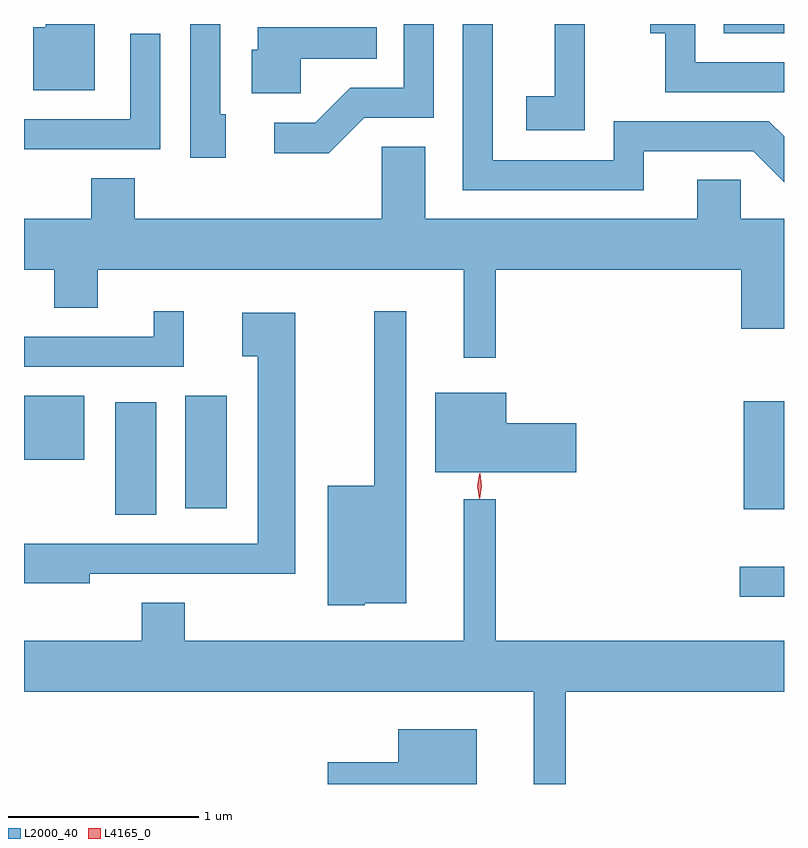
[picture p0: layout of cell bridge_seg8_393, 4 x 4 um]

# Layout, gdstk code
import gdstk
lib = gdstk.Library(unit=1e-6, precision=1e-09)
def R(c, l, rs):  # rectangles x0, y0, x1, y1
    for r in rs: c.add(gdstk.rectangle(r[:2], r[2:], *l))
def P(c, l, *ps):  # polygons
    for p in ps: c.add(gdstk.Polygon(p, *l))
L2000_40 = (2000, 40)
L4165_0 = (4165, 0)

bridge_seg8_393 = lib.new_cell('bridge_seg8_393')
R(bridge_seg8_393, L2000_40, [(808.353,1870.216,808.587,1870.374), (805.066,1870.646,805.284,1871.239), (808.376,1870.676,808.587,1871.244), (805.436,1870.681,805.654,1871.274), (804.587,1870.936,804.904,1871.274), (808.271,1873.181,808.587,1873.23)])
P(bridge_seg8_393, L2000_40, [(808.587,1873.029),(808.119,1873.029),(808.119,1873.23),(807.883,1873.23),(807.883,1873.181),(807.961,1873.181),(807.961,1872.871),(808.587,1872.871)],
  [(807.539,1873.23),(807.381,1873.23),(807.381,1872.849),(807.231,1872.849),(807.231,1872.671),(807.539,1872.671)],
  [(806.377,1872.736),(806.744,1872.736),(806.744,1873.23),(806.586,1873.23),(806.586,1872.894),(806.304,1872.894),(806.119,1872.709),(805.903,1872.709),(805.903,1872.551),(806.192,1872.551)],
  [(804.959,1873.23),(804.701,1873.23),(804.701,1873.214),(804.636,1873.214),(804.636,1872.881),(804.959,1872.881)],
  [(805.649,1872.754),(805.619,1872.754),(805.619,1873.23),(805.461,1873.23),(805.461,1872.526),(805.649,1872.526)],
  [(807.849,1872.561),(808.424,1872.561),(808.587,1872.398),(808.587,1872.639),(808.507,1872.719),(807.691,1872.719),(807.691,1872.514),(807.054,1872.514),(807.054,1873.23),(806.896,1873.23),(806.896,1872.356),(807.849,1872.356)],
  [(806.044,1873.046),(806.443,1873.046),(806.443,1873.214),(805.816,1873.214),(805.816,1873.094),(805.786,1873.094),(805.786,1872.866),(806.044,1872.866)],
  [(805.304,1873.178),(805.146,1873.178),(805.146,1872.729),(804.587,1872.729),(804.587,1872.571),(805.304,1872.571)],
  [(807.069,1871.936),(808.361,1871.936),(808.361,1871.626),(808.587,1871.626),(808.587,1872.204),(808.359,1872.204),(808.359,1872.409),(808.131,1872.409),(808.131,1872.204),(806.699,1872.204),(806.699,1872.584),(806.471,1872.584),(806.471,1872.204),(805.169,1872.204),(805.169,1872.419),(804.941,1872.419),(804.941,1872.204),(804.587,1872.204),(804.587,1871.936),(804.746,1871.936),(804.746,1871.736),(804.974,1871.736),(804.974,1871.936),(806.901,1871.936),(806.901,1871.473),(807.069,1871.473)],
  [(805.429,1871.718),(805.271,1871.718),(805.271,1871.584),(804.587,1871.584),(804.587,1871.426),(805.429,1871.426)],
  [(806.38,1870.181),(806.599,1870.181),(806.599,1871.718),(806.431,1871.718),(806.431,1870.799),(806.186,1870.799),(806.186,1870.171),(806.38,1870.171)],
  [(804.934,1870.336),(806.014,1870.336),(806.014,1871.709),(805.736,1871.709),(805.736,1871.481),(805.816,1871.481),(805.816,1870.494),(804.587,1870.494),(804.587,1870.286),(804.934,1870.286)],
  [(807.494,1871.129),(807.124,1871.129),(807.124,1871.289),(806.751,1871.289),(806.751,1870.871),(807.494,1870.871)],
  [(807.439,1869.716),(808.587,1869.716),(808.587,1869.984),(807.069,1869.984),(807.069,1870.728),(806.901,1870.728),(806.901,1869.984),(805.434,1869.984),(805.434,1870.184),(805.206,1870.184),(805.206,1869.984),(804.587,1869.984),(804.587,1869.716),(807.271,1869.716),(807.271,1869.23),(807.439,1869.23)],
  [(806.969,1869.519),(806.556,1869.519),(806.556,1869.344),(806.186,1869.344),(806.186,1869.23),(806.969,1869.23)])
P(bridge_seg8_393, L4165_0, [(806.982,1870.733),(806.972,1870.796),(806.982,1870.859),(806.982,1870.86),(806.983,1870.859),(806.992,1870.796),(806.983,1870.733),(806.983,1870.733)],
  [(806.985,1870.73),(806.985,1870.73),(806.976,1870.798),(806.986,1870.866),(806.987,1870.866),(806.987,1870.866),(806.996,1870.798),(806.986,1870.73)])

lib.write_gds('bridge_seg8_393.gds')
